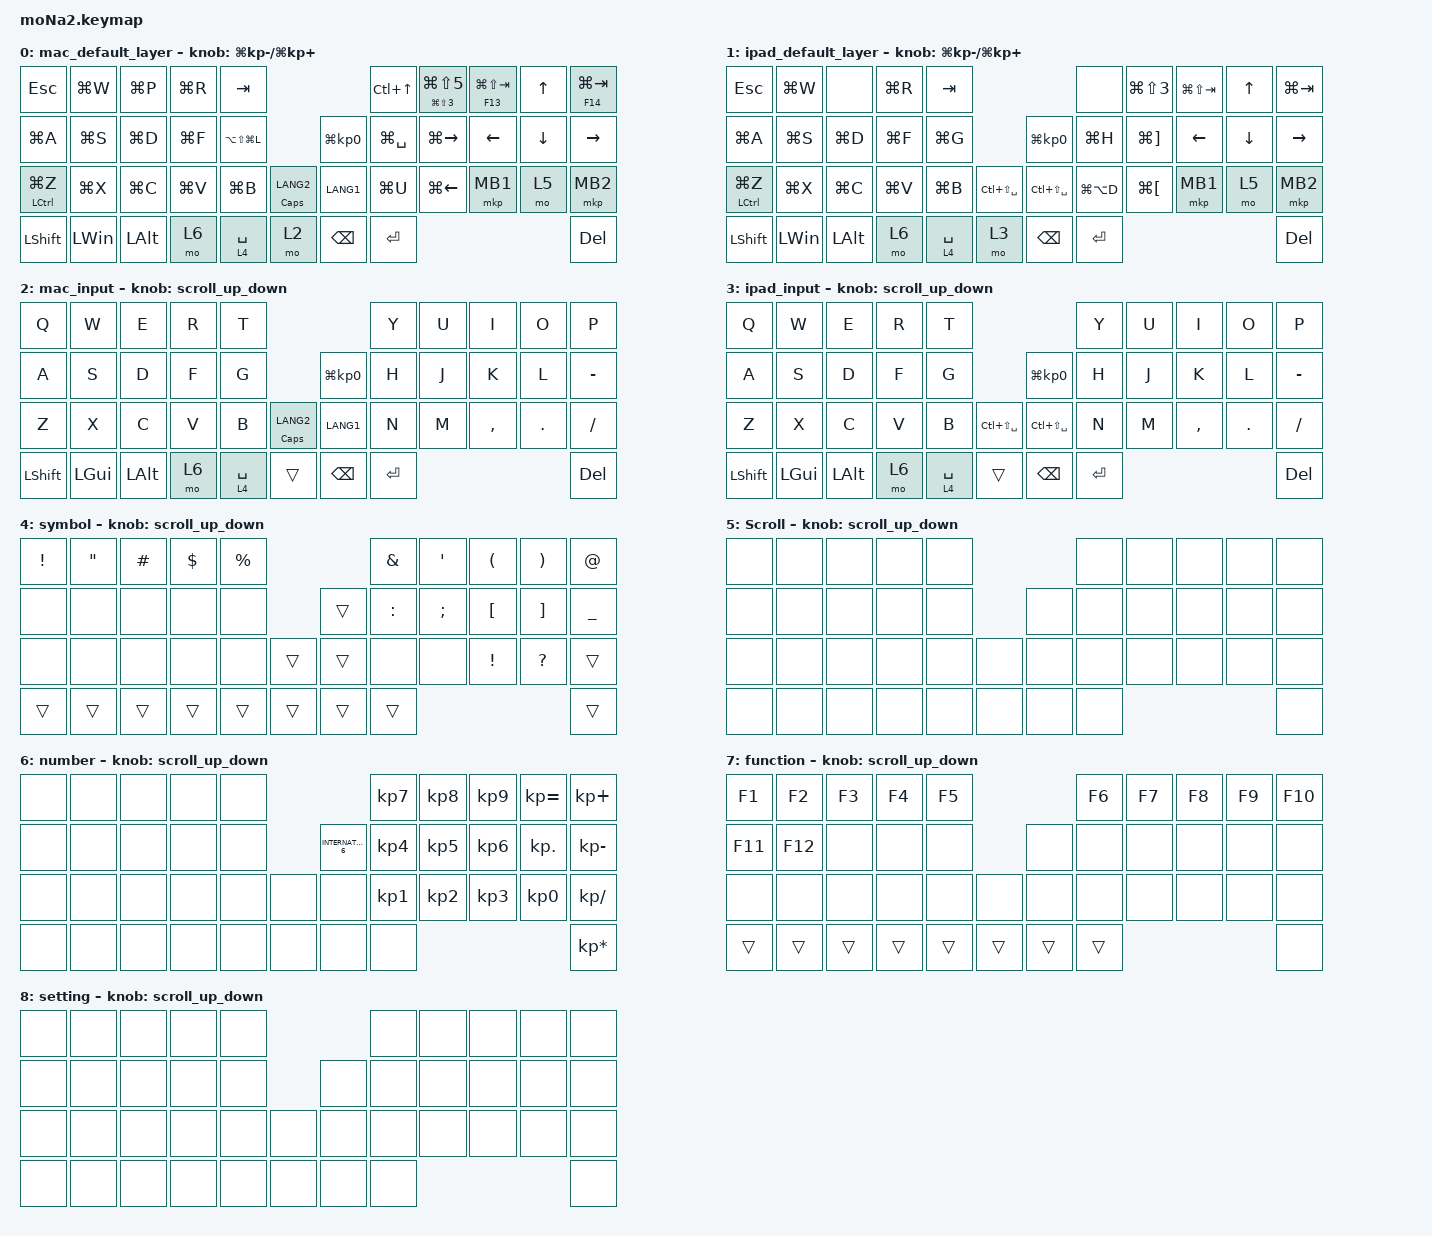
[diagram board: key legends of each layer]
#include <behaviors.dtsi>
#include <dt-bindings/zmk/keys.h>
#include <dt-bindings/zmk/pointing.h>

#define ZMK_POINTING_DEFAULT_SCRL_VAL 100
#define MOUSE 5
#define SCROLL 6

&mt {
    flavor = "balanced";
    quick-tap-ms = <0>;
};

/ {
    combos { compatible = "zmk,combos"; };

    macros {
        to_layer_0: to_layer_0 {
            compatible = "zmk,behavior-macro-one-param";
            #binding-cells = <1>;
            bindings = <&to 0 &macro_param_1to1 &kp MACRO_PLACEHOLDER>;
            label = "TO_LAYER_0";
        };
    };

    behaviors {
        lt_to_layer_0: lt_to_layer_0 {
            compatible = "zmk,behavior-hold-tap";
            label = "LAYER_TAP_TO_0";
            bindings = <&mo>, <&to_layer_0>;

            #binding-cells = <2>;
            tapping-term-ms = <200>;
        };

        scroll_up_down: behavior_sensor_rotate_mouse_wheel_up_down {
            compatible = "zmk,behavior-sensor-rotate";
            #sensor-binding-cells = <0>;
            bindings = <&msc SCRL_UP>, <&msc SCRL_DOWN>;

            tap-ms = <20>;
        };
    };

    keymap {
        compatible = "zmk,keymap";

        mac_default_layer {
            bindings = <
&kp ESC          &kp LG(W)     &kp LG(P)     &kp LG(R)  &kp TAB                                             &kp LC(UP)     &mt LG(LS(NUMBER_3)) LG(LS(N5))  &mt F13 LG(LS(TAB))  &kp UP    &mt F14 LG(TAB)
&kp LG(A)        &kp LG(S)     &kp LG(D)     &kp LG(F)  &kp LA(LS(LG(L)))                    &kp LG(KP_N0)  &kp LG(SPACE)  &kp LG(RIGHT)                    &kp LEFT             &kp DOWN  &kp RIGHT
&mt LCTRL LG(Z)  &kp LG(X)     &kp LG(C)     &kp LG(V)  &kp LG(B)          &mt CAPS LANG2    &kp LANG1      &kp LG(U)      &kp LG(LEFT)                     &mkp MB1             &mo 5     &mkp MB2
&kp LSHFT        &kp LEFT_WIN  &kp LEFT_ALT  &mo 6      &lt 4 SPACE        &mo 2             &kp BACKSPACE  &kp ENTER                                                                      &kp DEL
            >;

            sensor-bindings = <&inc_dec_kp LG(KP_MINUS) LG(KP_PLUS)>;
        };

        ipad_default_layer {
            bindings = <
&kp ESC          &kp LG(W)     &none         &kp LG(R)  &kp TAB                                              &none          &kp LG(LS(NUMBER_3))   &kp LG(LS(TAB))  &kp UP    &kp LG(TAB)
&kp LG(A)        &kp LG(S)     &kp LG(D)     &kp LG(F)  &kp LG(G)                         &kp LG(KP_N0)      &kp LG(H)      &kp LG(RIGHT_BRACKET)  &kp LEFT         &kp DOWN  &kp RIGHT
&mt LCTRL LG(Z)  &kp LG(X)     &kp LG(C)     &kp LG(V)  &kp LG(B)    &kp LC(LS(SPACE))    &kp LC(LS(SPACE))  &kp LG(LA(D))  &kp LG(LEFT_BRACKET)   &mkp MB1         &mo 5     &mkp MB2
&kp LSHFT        &kp LEFT_WIN  &kp LEFT_ALT  &mo 6      &lt 4 SPACE  &mo 3                &kp BACKSPACE      &kp ENTER                                                        &kp DEL
            >;

            sensor-bindings = <&inc_dec_kp LG(KP_MINUS) LG(KP_PLUS)>;
        };

        mac_input {
            bindings = <
&kp Q      &kp W     &kp E     &kp R  &kp T                                             &kp Y      &kp U  &kp I      &kp O    &kp P
&kp A      &kp S     &kp D     &kp F  &kp G                              &kp LG(KP_N0)  &kp H      &kp J  &kp K      &kp L    &kp MINUS
&kp Z      &kp X     &kp C     &kp V  &kp B        &mt CAPSLOCK LANG2    &kp LANG1      &kp N      &kp M  &kp COMMA  &kp DOT  &kp FSLH
&kp LSHFT  &kp LGUI  &kp LALT  &mo 6  &lt 4 SPACE  &trans                &kp BSPC       &kp ENTER                             &kp DELETE
            >;

            sensor-bindings = <&scroll_up_down>;
        };

        ipad_input {
            bindings = <
&kp Q      &kp W     &kp E     &kp R  &kp T                                                &kp Y      &kp U  &kp I      &kp O    &kp P
&kp A      &kp S     &kp D     &kp F  &kp G                             &kp LG(KP_N0)      &kp H      &kp J  &kp K      &kp L    &kp MINUS
&kp Z      &kp X     &kp C     &kp V  &kp B        &kp LC(LS(SPACE))    &kp LC(LS(SPACE))  &kp N      &kp M  &kp COMMA  &kp DOT  &kp FSLH
&kp LSHFT  &kp LGUI  &kp LALT  &mo 6  &lt 4 SPACE  &trans               &kp BSPC           &kp ENTER                             &kp DELETE
            >;

            sensor-bindings = <&scroll_up_down>;
        };

        symbol {
            bindings = <
&kp EXCLAMATION  &kp DOUBLE_QUOTES  &kp HASH  &kp DOLLAR  &kp PERCENT                    &kp AMPERSAND  &kp SINGLE_QUOTE  &kp LEFT_PARENTHESIS  &kp RIGHT_PARENTHESIS  &kp AT_SIGN
&none            &none              &none     &none       &none                  &trans  &kp COLON      &kp SEMICOLON     &kp LEFT_BRACKET      &kp RIGHT_BRACKET      &kp UNDERSCORE
&none            &none              &none     &none       &none        &trans    &trans  &none          &none             &kp EXCLAMATION       &kp QUESTION           &trans
&trans           &trans             &trans    &trans      &trans       &trans    &trans  &trans                                                                        &trans
            >;

            sensor-bindings = <&scroll_up_down>;
        };

        Scroll {
            bindings = <
&none  &none  &none  &none  &none                  &none  &none  &none  &none  &none
&none  &none  &none  &none  &none           &none  &none  &none  &none  &none  &none
&none  &none  &none  &none  &none  &none    &none  &none  &none  &none  &none  &none
&none  &none  &none  &none  &none  &none    &none  &none                       &none
            >;

            sensor-bindings = <&scroll_up_down>;
        };

        number {
            bindings = <
&none  &none  &none  &none  &none                                &kp KP_NUMBER_7  &kp KP_NUMBER_8  &kp KP_NUMBER_9  &kp KP_EQUAL     &kp KP_PLUS
&none  &none  &none  &none  &none           &kp INTERNATIONAL_6  &kp KP_NUMBER_4  &kp KP_NUMBER_5  &kp KP_NUMBER_6  &kp KP_DOT       &kp KP_MINUS
&none  &none  &none  &none  &none  &none    &none                &kp KP_NUMBER_1  &kp KP_NUMBER_2  &kp KP_NUMBER_3  &kp KP_NUMBER_0  &kp KP_SLASH
&none  &none  &none  &none  &none  &none    &none                &none                                                               &kp KP_MULTIPLY
            >;

            sensor-bindings = <&scroll_up_down>;
        };

        function {
            bindings = <
&kp F1   &kp F2   &kp F3  &kp F4  &kp F5                    &kp F6  &kp F7  &kp F8  &kp F9  &kp F10
&kp F11  &kp F12  &none   &none   &none             &none   &none   &none   &none   &none   &none
&none    &none    &none   &none   &none   &none     &none   &none   &none   &none   &none   &none
&trans   &trans   &trans  &trans  &trans  &trans    &trans  &trans                          &none
            >;

            sensor-bindings = <&scroll_up_down>;
        };

        setting {
            bindings = <
&none  &none  &none  &none  &none                  &none  &none  &none  &none  &none
&none  &none  &none  &none  &none           &none  &none  &none  &none  &none  &none
&none  &none  &none  &none  &none  &none    &none  &none  &none  &none  &none  &none
&none  &none  &none  &none  &none  &none    &none  &none                       &none
            >;

            sensor-bindings = <&scroll_up_down>;
        };
    };
};
